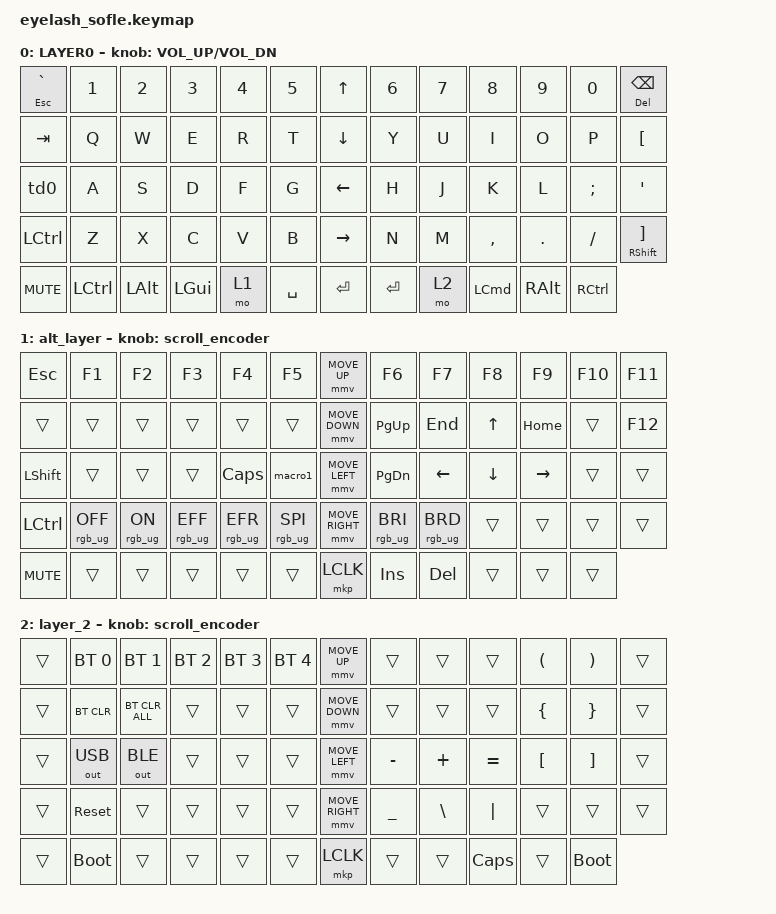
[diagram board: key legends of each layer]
#define ZMK_POINTING_DEFAULT_MOVE_VAL 1200  // 600
#define ZMK_POINTING_DEFAULT_SCRL_VAL 25   // 10

#include <input/processors.dtsi>
#include <zephyr/dt-bindings/input/input-event-codes.h>
#include <behaviors.dtsi>
#include <dt-bindings/zmk/bt.h>
#include <dt-bindings/zmk/keys.h>
#include <dt-bindings/zmk/outputs.h>
#include <dt-bindings/zmk/pointing.h>
#include <dt-bindings/zmk/rgb.h>

&mmv_input_listener { input-processors = <&zip_xy_scaler 2 1>; };

&msc_input_listener { input-processors = <&zip_scroll_scaler 2 1>; };

&msc {
    acceleration-exponent = <1>;      // 0
    time-to-max-speed-ms = <100>;       // 300
    delay-ms = <0>;                   // 0
};

&mmv {
    time-to-max-speed-ms = <500>;
    acceleration-exponent = <1>;
    trigger-period-ms = <16>;
};

&mt { flavor = "tap-preferred"; };

/ {
    scroll_encoder: scroll_encoder {
        compatible = "zmk,behavior-sensor-rotate";
        #sensor-binding-cells = <0>;
        bindings = <&msc SCRL_DOWN>, <&msc SCRL_UP>;

        tap-ms = <100>;
    };

    td0: td0 {
        compatible = "zmk,behavior-tap-dance";
        label = "TD0";
        #binding-cells = <0>;
        bindings = <&kp LEFT_SHIFT>, <&caps_word>;

        tapping-term-ms = <300>;
    };

    td1: td1 {
        compatible = "zmk,behavior-tap-dance";
        label = "TD1";
        #binding-cells = <0>;
        bindings = <&kp BSPC>, <&kp DELETE>;
    };

    behaviors {
    };

    macros {
        macro1: macro1 {
            compatible = "zmk,behavior-macro";
            #binding-cells = <0>;
            bindings = <&kp LS(F) &kp B &kp E &kp O &kp G &kp H &kp K &kp S &kp AT &kp N8 &kp N5 &kp N0 &kp N3 &kp N2 &kp N9>;
            label = "MACRO1";
        };
    };

    keymap {
        compatible = "zmk,keymap";

        DEFAULT {
            bindings = <
&mt ESCAPE GRAVE  &kp NUMBER_1      &kp NUMBER_2  &kp NUMBER_3  &kp NUMBER_4  &kp NUMBER_5    &kp UP_ARROW     &kp NUMBER_6  &kp NUMBER_7  &kp NUMBER_8      &kp NUMBER_9   &kp NUMBER_0  &mt DELETE BACKSPACE
&kp TAB           &kp Q             &kp W         &kp E         &kp R         &kp T           &kp DOWN_ARROW   &kp Y         &kp U         &kp I             &kp O          &kp P         &kp LEFT_BRACKET
&td0              &kp A             &kp S         &kp D         &kp F         &kp G           &kp LEFT_ARROW   &kp H         &kp J         &kp K             &kp L          &kp SEMI      &kp APOS
&kp LCTRL         &kp Z             &kp X         &kp C         &kp V         &kp B           &kp RIGHT_ARROW  &kp N         &kp M         &kp COMMA         &kp DOT        &kp FSLH      &mt RIGHT_SHIFT RIGHT_BRACKET
&kp C_MUTE        &kp LEFT_CONTROL  &kp LEFT_ALT  &kp LEFT_GUI  &mo 1         &kp SPACE       &kp ENTER        &kp ENTER     &mo 2         &kp LEFT_COMMAND  &kp RIGHT_ALT  &kp RCTRL
            >;

            sensor-bindings = <&inc_dec_kp C_VOLUME_UP C_VOL_DN>;
            display-name = "LAYER0";
        };

        ALT {
            bindings = <
&kp ESC         &kp F1           &kp F2          &kp F3           &kp F4           &kp F5             &mmv MOVE_UP     &kp F6           &kp F7           &kp F8    &kp F9     &kp F10  &kp F11
&trans          &trans           &trans          &trans           &trans           &trans             &mmv MOVE_DOWN   &kp PG_UP        &kp END          &kp UP    &kp HOME   &trans   &kp F12
&kp LEFT_SHIFT  &trans           &trans          &trans           &kp CLCK         &macro1            &mmv MOVE_LEFT   &kp PG_DN        &kp LEFT         &kp DOWN  &kp RIGHT  &trans   &trans
&kp LCTRL       &rgb_ug RGB_OFF  &rgb_ug RGB_ON  &rgb_ug RGB_EFF  &rgb_ug RGB_EFR  &rgb_ug RGB_SPI    &mmv MOVE_RIGHT  &rgb_ug RGB_BRI  &rgb_ug RGB_BRD  &trans    &trans     &trans   &trans
&kp C_MUTE      &trans           &trans          &trans           &trans           &trans             &mkp LCLK        &kp INSERT       &kp DELETE       &trans    &trans     &trans
            >;

            display-name = "alt_layer";
            sensor-bindings = <&scroll_encoder>;
        };

        layer_2 {
            bindings = <
&trans  &bt BT_SEL 0  &bt BT_SEL 1    &bt BT_SEL 2  &bt BT_SEL 3  &bt BT_SEL 4    &mmv MOVE_UP     &trans     &trans         &trans     &kp LEFT_PARENTHESIS  &kp RIGHT_PARENTHESIS  &trans
&trans  &bt BT_CLR    &bt BT_CLR_ALL  &trans        &trans        &trans          &mmv MOVE_DOWN   &trans     &trans         &trans     &kp LEFT_BRACE        &kp RIGHT_BRACE        &trans
&trans  &out OUT_USB  &out OUT_BLE    &trans        &trans        &trans          &mmv MOVE_LEFT   &kp MINUS  &kp PLUS       &kp EQUAL  &kp LEFT_BRACKET      &kp RIGHT_BRACKET      &trans
&trans  &sys_reset    &trans          &trans        &trans        &trans          &mmv MOVE_RIGHT  &kp UNDER  &kp BACKSLASH  &kp PIPE   &trans                &trans                 &trans
&trans  &bootloader   &trans          &trans        &trans        &trans          &mkp LCLK        &trans     &trans         &kp CLCK   &trans                &bootloader
            >;

            sensor-bindings = <&scroll_encoder>;
        };
    };
};
